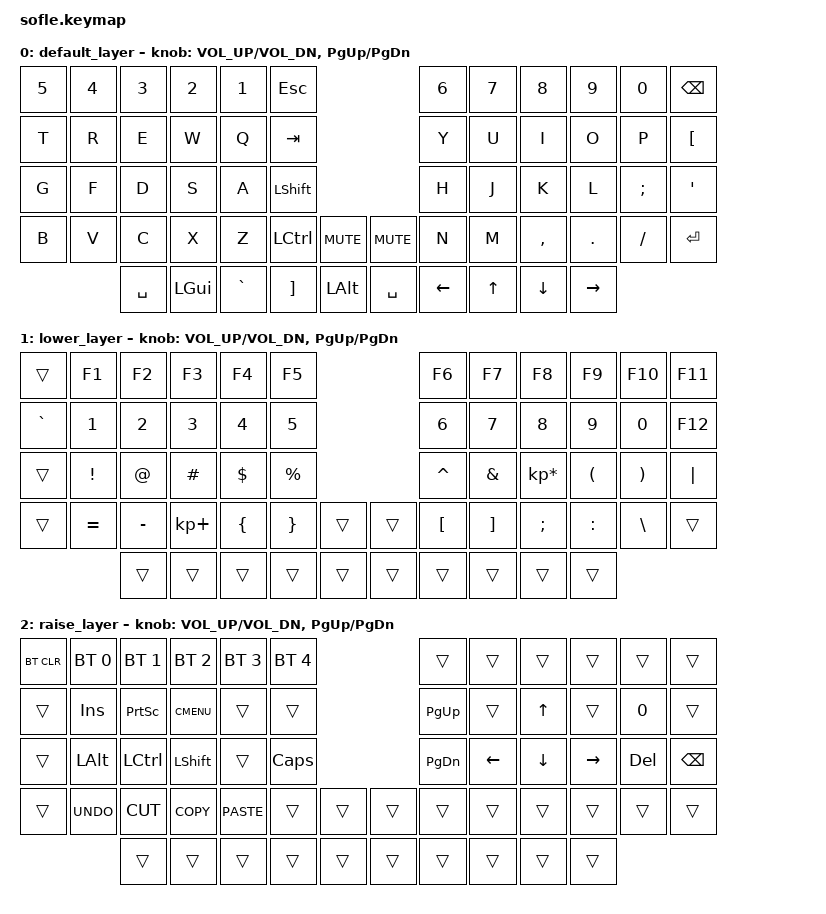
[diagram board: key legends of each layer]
/*
 * Copyright (c) 2020 The ZMK Contributors
 *
 * SPDX-License-Identifier: MIT
 */

#include <behaviors.dtsi>
#include <dt-bindings/zmk/keys.h>
#include <dt-bindings/zmk/bt.h>

/ {
    keymap {
        compatible = "zmk,keymap";

        default_layer {
// ------------------------------------------------------------------------------------------------------------
// |  5   |  4  |  3  |  2   |  1   |  `    |                   |  6   |  7    |  8    |  9   |   0   |  BKSPC  |
// |  T   |  R  |  E  |  W   |  Q   |  ESC  |                   |  Y   |  U    |  I    |  O   |   P   |  {  |
// |  G   |  F  |  D  |  S   |  A   |  TAB  |                   |  H   |  J    |  K    |  L   |   ;   |   '   |
// | MUTE |  B  |  V  |  C   |  X   |   Z   |  SHIFT  | |       |  N   |  M    |  ,    |  .   |   /   | SHIFT |
//              | ENTER | GUI | ` | } |  ALT |          | SPACE | RAISE| CTRL  | ALT   | GUI  |
//              | ALT | }  | ` | GUI|  ENTER |          | SPACE | RAISE| CTRL  | ALT   | GUI  |
            bindings = <

&kp N5 &kp N4 &kp N3  &kp N2   &kp N1  &kp ESC                            &kp N6 &kp N7  &kp N8    &kp N9   &kp N0   &kp BSPC
&kp T  &kp R  &kp E   &kp W    &kp Q   &kp TAB                            &kp Y  &kp U   &kp I     &kp O    &kp P    &kp LBKT
&kp G  &kp F  &kp D   &kp S    &kp A   &kp LSHIFT                         &kp H  &kp J   &kp K     &kp L    &kp SEMI &kp SQT
&kp B  &kp V  &kp C   &kp X    &kp Z   &kp LCTRL  &kp C_MUTE      &kp C_MUTE  &kp N  &kp M   &kp COMMA &kp DOT  &kp FSLH &kp RET
       &kp SPACE &kp LGUI &kp GRAVE &kp RBKT  &kp LALT                    &kp SPACE &kp LEFT  &kp UP &kp DOWN  &kp RIGHT
            >;

            sensor-bindings = <&inc_dec_kp C_VOL_UP C_VOL_DN &inc_dec_kp PG_UP PG_DN>;
        };

        lower_layer {
// TODO: Some binds are waiting for shifted keycode support.
// ------------------------------------------------------------------------------------------------------------
// |       |  F1 |  F2 |  F3  |  F4  |  F5  |                   |  F6  |  F7   |  F8   |  F9  |  F10  |  F11  |
// | `     |   1 |   2 |   3  |   4  |   5  |                   |   6  |   7   |   8   |   9  |    0  |  F12  |
// |       |  !  |  @  |  #   |  $   |  %   |                   |  ^   |  &    |  *    |  (   |   )   |   |   |
// |       |  =  |  -  |  +   |  {   |  }   |        |  |       |  [   |  ]    |  ;    |  :   |   \   |       |
//               |     |      |      |      |        |  |       |      |       |       |      |
            bindings = <
&trans    &kp F1    &kp F2    &kp F3      &kp F4    &kp F5                    &kp F6    &kp F7   &kp F8          &kp F9    &kp F10   &kp F11
&kp GRAVE &kp N1    &kp N2    &kp N3      &kp N4    &kp N5                    &kp N6    &kp N7   &kp N8          &kp N9    &kp N0    &kp F12
&trans    &kp EXCL  &kp AT    &kp HASH    &kp DLLR  &kp PRCNT                 &kp CARET &kp AMPS &kp KP_MULTIPLY &kp LPAR  &kp RPAR  &kp PIPE
&trans    &kp EQUAL &kp MINUS &kp KP_PLUS &kp LBRC  &kp RBRC  &trans   &trans &kp LBKT  &kp RBKT &kp SEMI        &kp COLON &kp BSLH  &trans
                    &trans    &trans      &trans    &trans    &trans   &trans &trans    &trans   &trans          &trans
            >;

            sensor-bindings = <&inc_dec_kp C_VOL_UP C_VOL_DN &inc_dec_kp PG_UP PG_DN>;
        };

        raise_layer {
// ------------------------------------------------------------------------------------------------------------
// |BTCLR| BT1  | BT2  |  BT3  |  BT4  |  BT5 |                |      |      |       |      |       |       |
// |     | INS  | PSCR | GUI   |       |      |                | PGUP |      |   ^   |      |       |       |
// |     | ALT  | CTRL | SHIFT |       | CAPS |                | PGDN |   <- |   v   |  ->  |  DEL  | BKSPC |
// |     | UNDO | CUT  | COPY  | PASTE |      |      |  |      |      |      |       |      |       |       |
//              |      |       |       |      |      |  |      |      |      |       |      |
            bindings = <
&bt BT_CLR &bt BT_SEL 0 &bt BT_SEL 1 &bt BT_SEL 2 &bt BT_SEL 3 &bt BT_SEL 4             &trans    &trans    &trans   &trans    &trans  &trans
&trans     &kp INS      &kp PSCRN    &kp K_CMENU  &trans       &trans                   &kp PG_UP &trans    &kp UP   &trans    &kp N0  &trans
&trans     &kp LALT     &kp LCTRL    &kp LSHFT    &trans       &kp CLCK                 &kp PG_DN &kp LEFT  &kp DOWN &kp RIGHT &kp DEL &kp BSPC
&trans     &kp K_UNDO   &kp K_CUT    &kp K_COPY   &kp K_PASTE  &trans  &trans   &trans  &trans    &trans    &trans   &trans    &trans  &trans
                        &trans       &trans       &trans       &trans  &trans   &trans  &trans    &trans    &trans   &trans
            >;

            sensor-bindings = <&inc_dec_kp C_VOL_UP C_VOL_DN &inc_dec_kp PG_UP PG_DN>;
        };
    };
};
